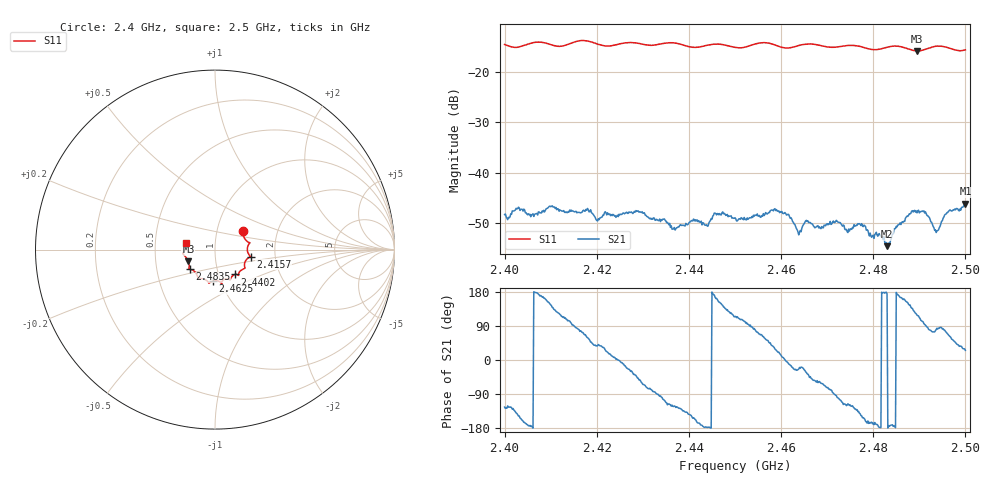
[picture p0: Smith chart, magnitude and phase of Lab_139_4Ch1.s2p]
# Hz S RI R 50
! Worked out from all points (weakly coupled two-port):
!   601 points, 2.4 GHz to 2.5 GHz, reference 50 ohm
!   highest |S21| = -46.17 dB at 2.5 GHz (marker M1); lowest = -54.6 dB at 2.483 GHz (marker M2)
!   lowest |S11| = -15.8 dB at 2.4895 GHz (marker M3), VSWR 1.39, Z = 36.8 - j4.98 ohm
!   |S11| at or under -10 dB: start of sweep to end of sweep
!   S12 and S22 are empty: the file has one direction only
!   S11 on the Smith chart (normalised r, x): 2.4 GHz: 1.33, +0.29; 2.4157 GHz: 1.49, -0.12; 2.4402 GHz: 1.20, -0.34; 2.4625 GHz: 0.92, -0.33; 2.4835 GHz: 0.74, -0.17; 2.5 GHz: 0.72, +0.06
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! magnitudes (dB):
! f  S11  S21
! 2.4 GHz  -14.5  -48.3
! 2.4102 GHz  -14.6  -46.7
! 2.4157 GHz  -13.9  -48.0
! 2.4167 GHz  -13.7  -47.9
! 2.429 GHz  -14.3  -47.6
! 2.4333 GHz  -14.5  -49.5
! 2.4368 GHz  -14.2  -50.9
! 2.4402 GHz  -15.0  -49.8
! 2.45 GHz  -15.1  -49.0
! 2.4585 GHz  -14.6  -47.3
! 2.4625 GHz  -15.1  -49.7
! 2.4638 GHz  -14.7  -52.4
! 2.4667 GHz  -14.4  -50.1
! 2.4772 GHz  -14.9  -50.3
! 2.483 GHz  -15.1  -54.6
! 2.4833 GHz  -15.0  -54.0
! 2.4835 GHz  -15.0  -54.4
! 2.485 GHz  -14.9  -50.7
! 2.4895 GHz  -15.8  -48.0
! 2.4938 GHz  -14.9  -51.5
! 2.4962 GHz  -15.2  -47.9
! 2.5 GHz  -15.6  -46.2
